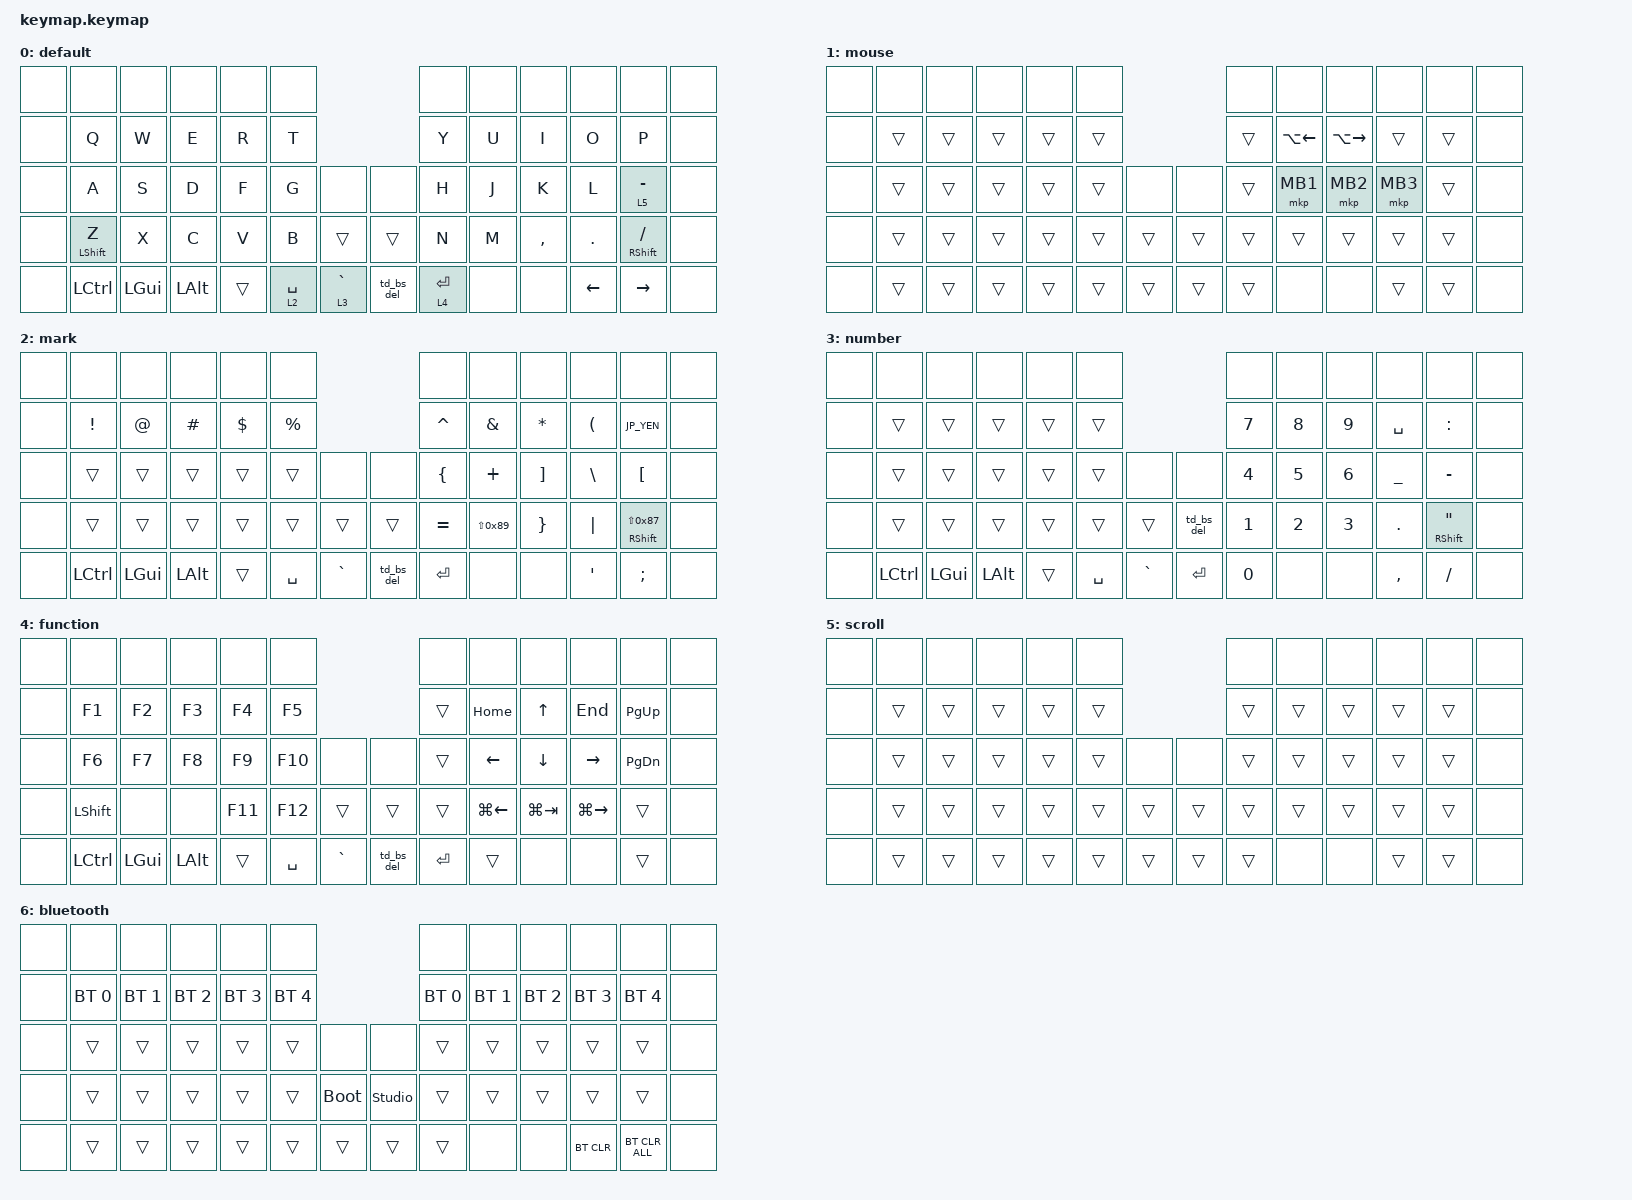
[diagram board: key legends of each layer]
#include <behaviors.dtsi>
#include <dt-bindings/zmk/bt.h>
#include <dt-bindings/zmk/keys.h>
#include <dt-bindings/zmk/pointing.h>

// OS設定を日本語キーボードのまま使用するための変換定義

#define JP_DQUOTE       AT                // "
#define JP_AMP          CARET             // &
#define JP_QUOTE        AMPERSAND         // '
#define JP_EQUAL        UNDER             // =
#define JP_CARET        EQUAL             // ^
#define JP_YEN          0x89              // ¥
#define JP_PLUS         COLON             // +
#define JP_TILDE        PLUS              // ~
#define JP_PIPE         LS(0x89)          // |
#define JP_AT           LEFT_BRACKET      // @
#define JP_COLON        SINGLE_QUOTE      // :
#define JP_ASTERISK     DOUBLE_QUOTES     // *
#define JP_BKQUOTE      LEFT_BRACE        // `
#define JP_UNDSCORE   LS(0x87)          // _
#define JP_LBRACKET     RIGHT_BRACKET     // [
#define JP_RBRACKET     BACKSLASH         // ]
#define JP_LPAREN       ASTERISK          // (
#define JP_RPAREN       LEFT_PARENTHESIS  // )
#define JP_LBRACE       RIGHT_BRACE       // {
#define JP_RBRACE       PIPE              // }
#define JP_KANA         LANGUAGE_1        // かな
#define JP_EISU         LANGUAGE_2        // 英数
#define JP_HANZEN       GRAVE             // 半角/全角

/ {
    combos {
        compatible = "zmk,combos";

        mo_bt_layer1 {
            bindings = <&mo 6>;
            key-positions = <57 58>;
        };

        mo_bt_layer2 {
            bindings = <&mo 6>;
            key-positions = <59 60>;
        };

        kp_esc {
            bindings = <&kp ESC>;
            key-positions = <0 1>;
            timeout-ms = <120>;
        };

        kp_tab {
            bindings = <&kp TAB>;
            key-positions = <10 11>;
            timeout-ms = <120>;
        };
    };

    behaviors {
        mt: mod_tap {
            compatible = "zmk,behavior-hold-tap";
            #binding-cells = <2>;
            flavor = "balanced";            // 判定ロジックをbalancedに
            tapping-term-ms = <280>;        // 判定時間
            quick-tap-ms = <175>;           // 連打時はタップを優先
            require-prior-idle-ms = <150>;  // タイピングが止まった時だけホールドを許可
            bindings = <&kp>, <&kp>;
        };

        re_kp: sensor_rotate_kp {
            compatible = "zmk,behavior-sensor-rotate-var";
            #sensor-binding-cells = <2>;
            bindings = <&kp>, <&kp>;
        };

        mouse_scrl: mouse_wheel_scrl {
            compatible = "zmk,behavior-sensor-rotate-var";
            #sensor-binding-cells = <2>;
            bindings = <&msc>, <&msc>;

            tap-ms = <20>;
        };

        td_bs_del: td_bs_del {
            compatible = "zmk,behavior-tap-dance";
            label = "TD_BS_DEL";
            #binding-cells = <0>;
            bindings = <&kp BSPC>, <&kp DELETE>;
        };
    };

    keymap {
        compatible = "zmk,keymap";

        // 0:default_layer

        default {
            bindings = <
&none  &none         &none     &none     &none   &none                                     &none        &none  &none      &none     &none             &none
&none  &kp Q         &kp W     &kp E     &kp R   &kp T                                     &kp Y        &kp U  &kp I      &kp O     &kp P             &none
&none  &kp A         &kp S     &kp D     &kp F   &kp G        &none            &none       &kp H        &kp J  &kp K      &kp L     &lt 5 MINUS       &none
&none  &mt LSHIFT Z  &kp X     &kp C     &kp V   &kp B        &trans           &trans      &kp N        &kp M  &kp COMMA  &kp DOT   &mt RSHIFT SLASH  &none
&none  &kp LCTRL     &kp LGUI  &kp LALT  &trans  &lt 2 SPACE  &lt 3 JP_HANZEN  &td_bs_del  &lt 4 ENTER  &none  &none      &kp LEFT  &kp RIGHT         &none
            >;
        };

        // 1:mouse_layer

        mouse {
            bindings = <
&none  &none   &none   &none   &none   &none                   &none   &none         &none          &none     &none   &none
&none  &trans  &trans  &trans  &trans  &trans                  &trans  &kp LA(LEFT)  &kp LA(RIGHT)  &trans    &trans  &none
&none  &trans  &trans  &trans  &trans  &trans  &none   &none   &trans  &mkp MB1      &mkp MB2       &mkp MB3  &trans  &none
&none  &trans  &trans  &trans  &trans  &trans  &trans  &trans  &trans  &trans        &trans         &trans    &trans  &none
&none  &trans  &trans  &trans  &trans  &trans  &trans  &trans  &trans  &none         &none          &trans    &trans  &none
            >;
        };

        // 2:mark_layer

        mark {
            bindings = <
&none  &none            &none          &none     &none       &none                                   &none           &none         &none            &none            &none                   &none
&none  &kp EXCLAMATION  &kp JP_DQUOTE  &kp HASH  &kp DOLLAR  &kp PERCENT                             &kp JP_AMP      &kp JP_QUOTE  &kp JP_LPAREN    &kp JP_RPAREN    &kp JP_YEN              &none
&none  &trans           &trans         &trans    &trans      &trans       &none          &none       &kp JP_BKQUOTE  &kp JP_TILDE  &kp JP_LBRACKET  &kp JP_RBRACKET  &kp JP_AT               &none
&none  &trans           &trans         &trans    &trans      &trans       &trans         &trans      &kp JP_CARET    &kp JP_PIPE   &kp JP_LBRACE    &kp JP_RBRACE    &mt RSHIFT JP_UNDSCORE  &none
&none  &kp LCTRL        &kp LGUI       &kp LALT  &trans      &kp SPACE    &kp JP_HANZEN  &td_bs_del  &kp ENTER       &none         &none            &kp JP_COLON     &kp SEMICOLON           &none
            >;
        };

        // 3:number_layer

        number {
            bindings = <
&none  &none      &none     &none     &none   &none                                 &none         &none         &none         &none         &none                   &none
&none  &trans     &trans    &trans    &trans  &trans                                &kp NUMBER_7  &kp NUMBER_8  &kp NUMBER_9  &kp SPACE     &kp JP_PLUS             &none
&none  &trans     &trans    &trans    &trans  &trans     &none          &none       &kp NUMBER_4  &kp NUMBER_5  &kp NUMBER_6  &kp JP_EQUAL  &kp MINUS               &none
&none  &trans     &trans    &trans    &trans  &trans     &trans         &td_bs_del  &kp NUMBER_1  &kp NUMBER_2  &kp NUMBER_3  &kp DOT       &mt RSHIFT JP_ASTERISK  &none
&none  &kp LCTRL  &kp LGUI  &kp LALT  &trans  &kp SPACE  &kp JP_HANZEN  &kp ENTER   &kp NUMBER_0  &none         &none         &kp COMMA     &kp SLASH               &none
            >;
        };

        // 4:function_layer

        function {
            bindings = <
&none  &none       &none     &none     &none    &none                                 &none      &none         &none        &none          &none          &none
&none  &kp F1      &kp F2    &kp F3    &kp F4   &kp F5                                &trans     &kp HOME      &kp UP       &kp END        &kp PAGE_UP    &none
&none  &kp F6      &kp F7    &kp F8    &kp F9   &kp F10    &none          &none       &trans     &kp LEFT      &kp DOWN     &kp RIGHT      &kp PAGE_DOWN  &none
&none  &kp LSHIFT  &none     &none     &kp F11  &kp F12    &trans         &trans      &trans     &kp LG(LEFT)  &kp LG(TAB)  &kp LG(RIGHT)  &trans         &none
&none  &kp LCTRL   &kp LGUI  &kp LALT  &trans   &kp SPACE  &kp JP_HANZEN  &td_bs_del  &kp ENTER  &trans        &none        &none          &trans         &none
            >;
        };

        // 5:scroll_layer

        scroll {
            bindings = <
&none  &none   &none   &none   &none   &none                   &none   &none   &none   &none   &none   &none
&none  &trans  &trans  &trans  &trans  &trans                  &trans  &trans  &trans  &trans  &trans  &none
&none  &trans  &trans  &trans  &trans  &trans  &none   &none   &trans  &trans  &trans  &trans  &trans  &none
&none  &trans  &trans  &trans  &trans  &trans  &trans  &trans  &trans  &trans  &trans  &trans  &trans  &none
&none  &trans  &trans  &trans  &trans  &trans  &trans  &trans  &trans  &none   &none   &trans  &trans  &none
            >;
        };

        // 6:bt_layer

        bluetooth {
            bindings = <
&none  &none         &none         &none         &none         &none                                      &none         &none         &none         &none         &none           &none
&none  &bt BT_SEL 0  &bt BT_SEL 1  &bt BT_SEL 2  &bt BT_SEL 3  &bt BT_SEL 4                               &bt BT_SEL 0  &bt BT_SEL 1  &bt BT_SEL 2  &bt BT_SEL 3  &bt BT_SEL 4    &none
&none  &trans        &trans        &trans        &trans        &trans        &none        &none           &trans        &trans        &trans        &trans        &trans          &none
&none  &trans        &trans        &trans        &trans        &trans        &bootloader  &studio_unlock  &trans        &trans        &trans        &trans        &trans          &none
&none  &trans        &trans        &trans        &trans        &trans        &trans       &trans          &trans        &none         &none         &bt BT_CLR    &bt BT_CLR_ALL  &none
            >;
        };
    };
};
